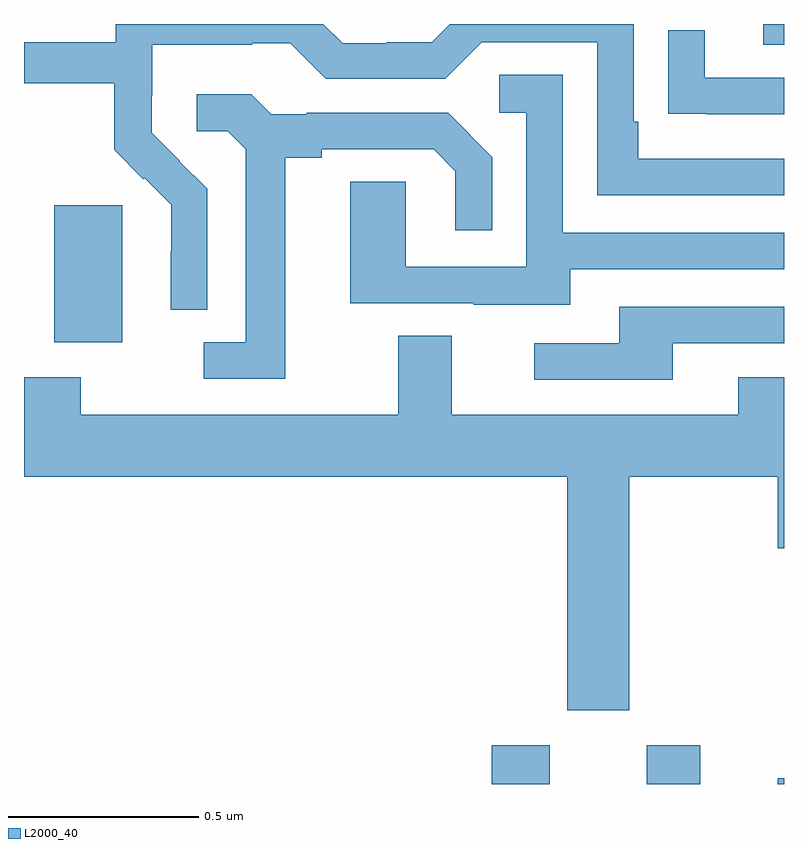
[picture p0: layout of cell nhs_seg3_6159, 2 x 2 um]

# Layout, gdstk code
import gdstk
lib = gdstk.Library(unit=1e-6, precision=1e-09)
def R(c, l, rs):  # rectangles x0, y0, x1, y1
    for r in rs: c.add(gdstk.rectangle(r[:2], r[2:], *l))
def P(c, l, *ps):  # polygons
    for p in ps: c.add(gdstk.Polygon(p, *l))
L2000_40 = (2000, 40)

nhs_seg3_6159 = lib.new_cell('nhs_seg3_6159')
R(nhs_seg3_6159, L2000_40, [(188.231,741.4,188.383,741.502), (188.639,741.4,188.779,741.502), (188.984,741.4,189,741.415), (187.079,742.562,187.258,742.923), (188.945,743.346,189,743.4)])
P(nhs_seg3_6159, L2000_40, [(187.482,742.966),(187.409,743.039),(187.41,743.04),(187.336,743.114),(187.336,743.211),(187.338,743.211),(187.338,743.345),(187.601,743.345),(187.601,743.349),(187.701,743.349),(187.794,743.256),(188.109,743.256),(188.205,743.352),(188.508,743.352),(188.508,742.95),(189,742.95),(189,743.046),(188.617,743.046),(188.617,743.143),(188.604,743.143),(188.604,743.4),(188.121,743.4),(188.073,743.352),(187.955,743.352),(187.955,743.349),(187.839,743.349),(187.788,743.4),(187.242,743.4),(187.242,743.352),(187,743.352),(187,743.244),(187.237,743.244),(187.237,743.069),(187.314,742.992),(187.317,742.995),(187.388,742.925),(187.388,742.802),(187.386,742.802),(187.386,742.648),(187.482,742.648)],
  [(189,743.259),(188.791,743.259),(188.791,743.383),(188.695,743.383),(188.695,743.164),(188.797,743.164),(188.797,743.163),(189,743.163)],
  [(188.437,742.755),(189,742.755),(189,742.851),(188.418,742.851),(188.418,743.267),(188.25,743.267),(188.25,743.166),(188.322,743.166),(188.322,742.761),(188.004,742.761),(188.004,742.985),(187.859,742.985),(187.859,742.665),(188.183,742.665),(188.183,742.661),(188.437,742.661)],
  [(187.687,743.048),(187.783,743.048),(187.783,743.07),(188.078,743.07),(188.135,743.013),(188.135,742.857),(188.232,742.857),(188.232,743.05),(188.116,743.166),(187.744,743.166),(187.744,743.163),(187.65,743.163),(187.598,743.215),(187.455,743.215),(187.455,743.118),(187.536,743.118),(187.583,743.071),(187.583,742.563),(187.473,742.563),(187.473,742.467),(187.687,742.467)],
  [(188.707,742.56),(189,742.56),(189,742.656),(188.567,742.656),(188.567,742.56),(188.343,742.56),(188.343,742.464),(188.707,742.464)],
  [(188.593,742.208),(188.984,742.208),(188.984,742.02),(189,742.02),(189,742.471),(188.879,742.471),(188.879,742.372),(188.125,742.372),(188.125,742.58),(187.985,742.58),(187.985,742.372),(187.149,742.372),(187.149,742.471),(187,742.471),(187,742.208),(188.429,742.208),(188.429,741.594),(188.593,741.594)])

lib.write_gds('nhs_seg3_6159.gds')
